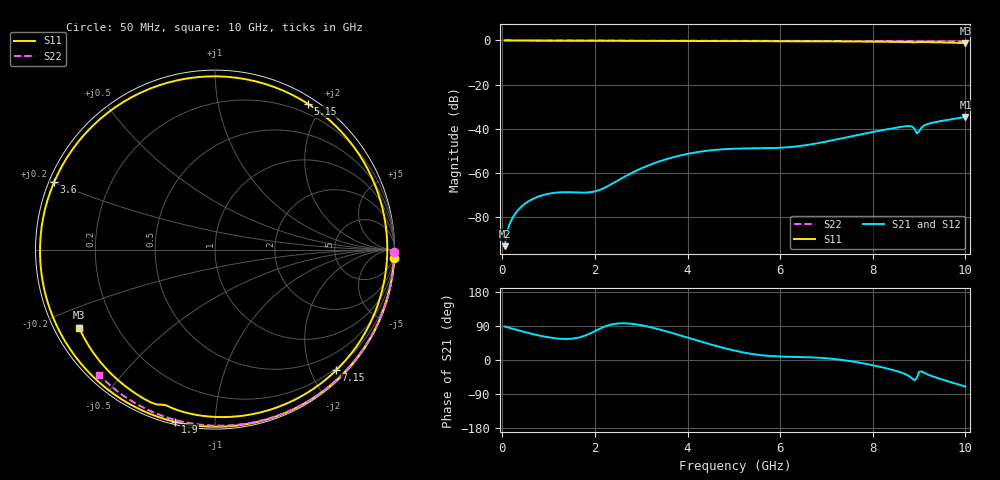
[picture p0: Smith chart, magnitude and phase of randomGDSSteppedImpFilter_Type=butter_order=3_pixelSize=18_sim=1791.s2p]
! freq	dB(S11)	phase(S11)	dB(S12)	phase(S12)
!  dB(S21)	phase(S21)	dB(S22)	phase(S22)
!S-par simulation data
#  GHz  S  DB  R 50
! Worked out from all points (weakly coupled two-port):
!   200 points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, 50 MHz to 10 GHz, reference 50 ohm
!   highest |S21| = -34.68 dB at 10 GHz (marker M1); lowest = -93.3 dB at 50 MHz (marker M2)
!   lowest |S11| = -1.2 dB at 10 GHz (marker M3), VSWR 14.75, Z = 3.63 - j13.3 ohm
!   |S11| at or under -10 dB: nowhere
!   |S22| runs from -0.4 to 0.0 dB; largest |S21 - S12| = 0
!   S11 on the Smith chart (normalised r, x): 50 MHz: 0, -42; 1.9 GHz: 0.01, -0.79; 3.6 GHz: 0.01, +0.20; 5.15 GHz: 0.08, +1.82; 7.15 GHz: 0.17, -2.41; 10 GHz: 0.07, -0.27
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0.05  -0.00 -2.7  -93.27 88.4  -93.27 88.4  -0.00 -0.8
0.25  -0.02 -13.6  -79.44 81.5  -79.44 81.5  -0.01 -3.8
0.5  -0.04 -27.1  -73.84 73.2  -73.84 73.2  -0.01 -7.6
1  -0.07 -54.2  -69.50 59.8  -69.50 59.8  -0.02 -15.2
1.75  -0.12 -94.9  -68.98 62.7  -68.98 62.7  -0.03 -26.5
1.9  -0.13 -103.1  -68.81 70.2  -68.81 70.2  -0.04 -28.7
2.75  -0.19 -151.2  -60.55 96.2  -60.55 96.2  -0.05 -41.1
3.4  -0.23 169.7  -54.77 80.4  -54.77 80.4  -0.07 -50.4
3.6  -0.25 157.2  -53.47 73.7  -53.47 73.7  -0.07 -53.2
4.35  -0.29 108.7  -50.20 46.4  -50.20 46.4  -0.09 -63.5
4.7  -0.31 86.0  -49.43 34.3  -49.43 34.3  -0.10 -68.2
5.05  -0.32 63.7  -49.04 23.8  -49.04 23.8  -0.11 -72.9
5.15  -0.32 57.4  -48.98 21.3  -48.98 21.3  -0.11 -74.2
5.9  -0.35 13.9  -48.74 9.7  -48.74 9.7  -0.14 -83.9
6.7  -0.38 -25.6  -46.99 6.9  -46.99 6.9  -0.18 -93.9
7.15  -0.42 -44.9  -45.17 2.9  -45.17 2.9  -0.21 -99.4
7.75  -0.49 -68.1  -42.54 -7.9  -42.54 -7.9  -0.24 -106.6
8.35  -0.61 -89.4  -40.12 -23.7  -40.12 -23.7  -0.29 -113.7
8.8  -0.77 -104.8  -38.80 -43.8  -38.80 -43.8  -0.33 -118.9
8.95  -0.78 -108.9  -42.09 -47.8  -42.09 -47.8  -0.34 -120.6
9.2  -0.76 -118.6  -37.77 -38.9  -37.77 -38.9  -0.36 -123.5
10  -1.18 -150.1  -34.68 -70.2  -34.68 -70.2  -0.44 -132.7
